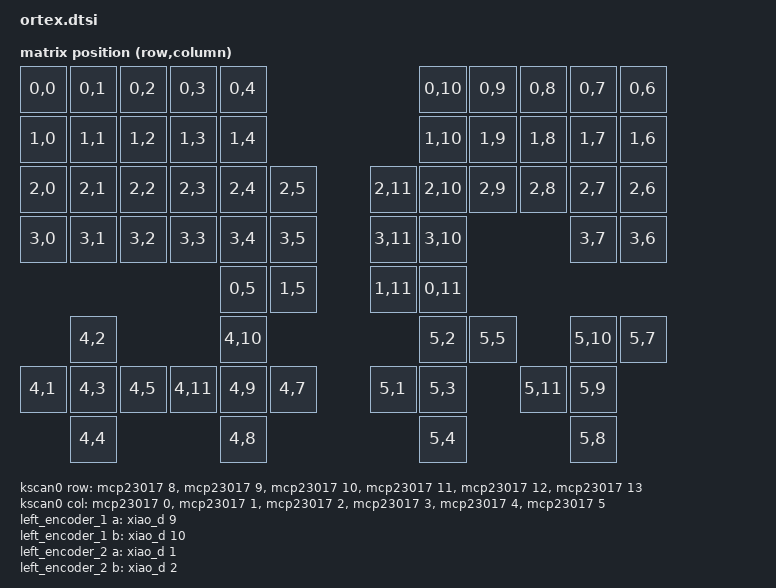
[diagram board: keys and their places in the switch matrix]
#include <dt-bindings/zmk/matrix_transform.h>
#include <input/processors.dtsi>
#include <dt-bindings/zmk/input_transform.h>
#include <physical_layouts.dtsi>

// 1. IOエクスパンダ(MCP23017)の定義
&i2c0 {
    status = "okay";
    /* XIAO nRF52840のデフォルトI2Cピン（P0.04/P0.05）を使用 */

    mcp23017: mcp23017@20 {
        compatible = "microchip,mcp23017";
        status = "okay";
        reg = <0x20>; // A0, A1, A2がすべてGNDなのでアドレスは0x20
        gpio-controller;
        #gpio-cells = <2>;

        /* 割り込みピンの設定 (R_I2C_INT -> XIAOのP1.11 / D6ピン) */
        int-gpios = <&gpio1 11 (GPIO_ACTIVE_LOW | GPIO_PULL_UP)>;
    };
};

/ {
    chosen {
        zmk,physical-layout = &physical_layout0;
    };

    physical_layout0: physical_layout_0 {
        compatible = "zmk,physical-layout";
        display-name = "default_layout";

        kscan = <&kscan0>;
        transform = <&default_transform>;

        keys  //                     w   h    x    y     rot    rx    ry
            = <&key_physical_attrs 100 100    0    0       0     0     0> //1行目
            , <&key_physical_attrs 100 100  100    0       0     0     0>
            , <&key_physical_attrs 100 100  200    0       0     0     0>
            , <&key_physical_attrs 100 100  300    0       0     0     0>
            , <&key_physical_attrs 100 100  400    0       0     0     0>
            , <&key_physical_attrs 100 100  800    0       0     0     0>
            , <&key_physical_attrs 100 100  900    0       0     0     0>
            , <&key_physical_attrs 100 100 1000    0       0     0     0>
            , <&key_physical_attrs 100 100 1100    0       0     0     0>
            , <&key_physical_attrs 100 100 1200    0       0     0     0>

            , <&key_physical_attrs 100 100    0  100       0     0     0> //2行目
            , <&key_physical_attrs 100 100  100  100       0     0     0>
            , <&key_physical_attrs 100 100  200  100       0     0     0>
            , <&key_physical_attrs 100 100  300  100       0     0     0>
            , <&key_physical_attrs 100 100  400  100       0     0     0>
            , <&key_physical_attrs 100 100  800  100       0     0     0>
            , <&key_physical_attrs 100 100  900  100       0     0     0>
            , <&key_physical_attrs 100 100 1000  100       0     0     0>
            , <&key_physical_attrs 100 100 1100  100       0     0     0>
            , <&key_physical_attrs 100 100 1200  100       0     0     0>

            , <&key_physical_attrs 100 100    0  200       0     0     0> //3行目
            , <&key_physical_attrs 100 100  100  200       0     0     0>
            , <&key_physical_attrs 100 100  200  200       0     0     0>
            , <&key_physical_attrs 100 100  300  200       0     0     0>
            , <&key_physical_attrs 100 100  400  200       0     0     0>
            , <&key_physical_attrs 100 100  500  200       0     0     0>
            , <&key_physical_attrs 100 100  700  200       0     0     0>
            , <&key_physical_attrs 100 100  800  200       0     0     0>
            , <&key_physical_attrs 100 100  900  200       0     0     0>
            , <&key_physical_attrs 100 100 1000  200       0     0     0>
            , <&key_physical_attrs 100 100 1100  200       0     0     0>
            , <&key_physical_attrs 100 100 1200  200       0     0     0>

            , <&key_physical_attrs 100 100    0  300       0     0     0> //4行目
            , <&key_physical_attrs 100 100  100  300       0     0     0>
            , <&key_physical_attrs 100 100  200  300       0     0     0>
            , <&key_physical_attrs 100 100  300  300       0     0     0>
            , <&key_physical_attrs 100 100  400  300       0     0     0>
            , <&key_physical_attrs 100 100  500  300       0     0     0>
            , <&key_physical_attrs 100 100  700  300       0     0     0>
            , <&key_physical_attrs 100 100  800  300       0     0     0>
            , <&key_physical_attrs 100 100 1100  300       0     0     0>
            , <&key_physical_attrs 100 100 1200  300       0     0     0>

            , <&key_physical_attrs 100 100  400  400       0     0     0>　//マウススイッチ
            , <&key_physical_attrs 100 100  500  400       0     0     0>
            , <&key_physical_attrs 100 100  700  400       0     0     0>
            , <&key_physical_attrs 100 100  800  400       0     0     0>

            , <&key_physical_attrs 100 100    0  600       0     0     0> //ジョイスティック（拡張モジュール：左）
            , <&key_physical_attrs 100 100  100  500       0     0     0>
            , <&key_physical_attrs 100 100  100  600       0     0     0>
            , <&key_physical_attrs 100 100  100  700       0     0     0>
            , <&key_physical_attrs 100 100  200  600       0     0     0>
            , <&key_physical_attrs 100 100  300  600       0     0     0> //ジョイスティック（基本モジュール：左）
            , <&key_physical_attrs 100 100  400  500       0     0     0>
            , <&key_physical_attrs 100 100  400  600       0     0     0>
            , <&key_physical_attrs 100 100  400  700       0     0     0>
            , <&key_physical_attrs 100 100  500  600       0     0     0>

            , <&key_physical_attrs 100 100  700  600       0     0     0> //ジョイスティック（基本モジュール：右）
            , <&key_physical_attrs 100 100  800  500       0     0     0>
            , <&key_physical_attrs 100 100  800  600       0     0     0>
            , <&key_physical_attrs 100 100  800  700       0     0     0>
            , <&key_physical_attrs 100 100  900  500       0     0     0>
            , <&key_physical_attrs 100 100 1000  600       0     0     0> //ジョイスティック（拡張モジュール：右）
            , <&key_physical_attrs 100 100 1100  500       0     0     0>
            , <&key_physical_attrs 100 100 1100  600       0     0     0>
            , <&key_physical_attrs 100 100 1100  700       0     0     0>
            , <&key_physical_attrs 100 100 1200  500       0     0     0>
            ;
    };

    default_transform: keymap_transform_0 {
        compatible = "zmk,matrix-transform";
        columns = <12>;
        rows = <6>;               
        map = <
            RC(0,0) RC(0,1) RC(0,2) RC(0,3) RC(0,4)                      RC(0,10) RC(0,9) RC(0,8) RC(0,7) RC(0,6)
            RC(1,0) RC(1,1) RC(1,2) RC(1,3) RC(1,4)                      RC(1,10) RC(1,9) RC(1,8) RC(1,7) RC(1,6)
            RC(2,0) RC(2,1) RC(2,2) RC(2,3) RC(2,4) RC(2,5)     RC(2,11) RC(2,10) RC(2,9) RC(2,8) RC(2,7) RC(2,6)
            RC(3,0) RC(3,1) RC(3,2) RC(3,3) RC(3,4) RC(3,5)     RC(3,11) RC(3,10)                 RC(3,7) RC(3,6)
                                            RC(0,5) RC(1,5)     RC(1,11) RC(0,11)
                    RC(4,1) RC(4,2) RC(4,3) RC(4,4) RC(4,5)     RC(4,11) RC(4,10) RC(4,9) RC(4,8) RC(4,7)
                    RC(5,1) RC(5,2) RC(5,3) RC(5,4) RC(5,5)     RC(5,11) RC(5,10) RC(5,9) RC(5,8) RC(5,7)
        >;
    };
    
// 2. 既存のkscan0にエクスパンダ経由のマトリクスピンアサインを統合
    kscan0: kscan {
        compatible = "zmk,kscan-gpio-matrix";
        label = "KSCAN";
        diode-direction = "col2row";

        /* ROW（行）の定義：GPB0〜GPB4 ＝ 8〜12番ピンを使用 */
        row-gpios
            = <&mcp23017  8 (GPIO_ACTIVE_HIGH | GPIO_PULL_DOWN)> // GPB0 (ROW0)
            , <&mcp23017  9 (GPIO_ACTIVE_HIGH | GPIO_PULL_DOWN)> // GPB1 (ROW1)
            , <&mcp23017 10 (GPIO_ACTIVE_HIGH | GPIO_PULL_DOWN)> // GPB2 (ROW2)
            , <&mcp23017 11 (GPIO_ACTIVE_HIGH | GPIO_PULL_DOWN)> // GPB3 (ROW3)
            , <&mcp23017 12 (GPIO_ACTIVE_HIGH | GPIO_PULL_DOWN)> // GPB4 (ROW4)
            , <&mcp23017 13 (GPIO_ACTIVE_HIGH | GPIO_PULL_DOWN)> // GPB5 (ROW5)
            ;

        /* COL（列）の定義：GPA0〜GPA5 ＝ 0〜5番ピンを使用 */
        col-gpios
            = <&mcp23017  0 GPIO_ACTIVE_HIGH> // GPA0 (COL0)
            , <&mcp23017  1 GPIO_ACTIVE_HIGH> // GPA1 (COL1)
            , <&mcp23017  2 GPIO_ACTIVE_HIGH> // GPA2 (COL2)
            , <&mcp23017  3 GPIO_ACTIVE_HIGH> // GPA3 (COL3)
            , <&mcp23017  4 GPIO_ACTIVE_HIGH> // GPA4 (COL4)
            , <&mcp23017  5 GPIO_ACTIVE_HIGH> // GPA5 (COL5)
            ;
    };

    //right hand trackball
    trackball_central_listener: trackball_central_listener {
        compatible = "zmk,input-listener";
        status = "disabled";
        input-processors = 
            <&zip_xy_transform INPUT_TRANSFORM_Y_INVERT>;         //Y軸反転
            //<&zip_xy_transform INPUT_TRANSFORM_XY_SWAP>,        //X軸とY軸の入れ替え
            //<&zip_xy_transform INPUT_TRANSFORM_X_INVERT>,       //X軸反転
            //<&zip_temp_layer 5 500>;                              //オートマウスレイヤーの選択
    };

    left_encoder_1: encoder_left_1 {
        compatible = "alps,ec11";
        a-gpios = <&xiao_d 9 (GPIO_ACTIVE_HIGH | GPIO_PULL_UP)>;
        b-gpios = <&xiao_d 10 (GPIO_ACTIVE_HIGH | GPIO_PULL_UP)>;
        steps = <24>;
        status = "disabled";
    };

    left_encoder_2: encoder_left_2 {
        compatible = "alps,ec11";
        a-gpios = <&xiao_d 1 (GPIO_ACTIVE_HIGH | GPIO_PULL_UP)>;
        b-gpios = <&xiao_d 2 (GPIO_ACTIVE_HIGH | GPIO_PULL_UP)>;
        steps = <24>;
        status = "disabled";
    };

    left_encoder_3: encoder_left_3 {
        compatible = "alps,ec11";
        a-gpios = <&xiao_d 3 (GPIO_ACTIVE_HIGH | GPIO_PULL_UP)>;
        b-gpios = <&xiao_d 8 (GPIO_ACTIVE_HIGH | GPIO_PULL_UP)>;
        steps = <24>;
        status = "disabled";
    };

    right_encoder: encoder_right {
         compatible = "alps,ec11";
        a-gpios = <&xiao_d 1 (GPIO_ACTIVE_HIGH | GPIO_PULL_UP)>;
        b-gpios = <&xiao_d 2 (GPIO_ACTIVE_HIGH | GPIO_PULL_UP)>;
        steps = <24>;
        status = "disabled";
    };

    sensors: sensors {
        compatible = "zmk,keymap-sensors";
        sensors = <&left_encoder_1 &left_encoder_2 &left_encoder_3 &right_encoder>;
        triggers-per-rotation = <10>;
    };

};
